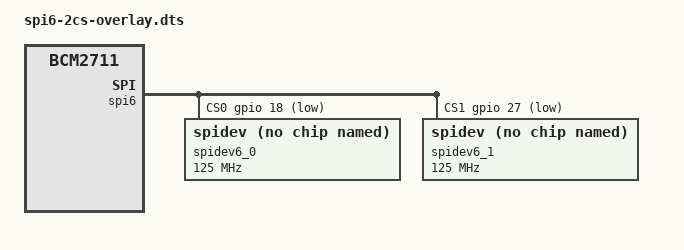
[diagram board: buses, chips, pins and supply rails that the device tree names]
/dts-v1/;
/plugin/;


/ {
	compatible = "brcm,bcm2711";

	fragment@0 {
		target = <&spi6_cs_pins>;
		frag0: __overlay__ {
			brcm,pins = <18 27>;
			brcm,function = <1>; /* output */
		};
	};

	fragment@1 {
		target = <&spi6>;
		frag1: __overlay__ {
			/* needed to avoid dtc warning */
			#address-cells = <1>;
			#size-cells = <0>;

			cs-gpios = <&gpio 18 1>, <&gpio 27 1>;
			status = "okay";

			spidev6_0: spidev@0 {
				compatible = "spidev";
				reg = <0>;      /* CE0 */
				#address-cells = <1>;
				#size-cells = <0>;
				spi-max-frequency = <125000000>;
				status = "okay";
			};

			spidev6_1: spidev@1 {
				compatible = "spidev";
				reg = <1>;      /* CE1 */
				#address-cells = <1>;
				#size-cells = <0>;
				spi-max-frequency = <125000000>;
				status = "okay";
			};
		};
	};

	__overrides__ {
		cs0_pin  = <&frag0>,"brcm,pins:0",
			   <&frag1>,"cs-gpios:4";
		cs1_pin  = <&frag0>,"brcm,pins:4",
			   <&frag1>,"cs-gpios:16";
		cs0_spidev = <&spidev6_0>,"status";
		cs1_spidev = <&spidev6_1>,"status";
	};
};
